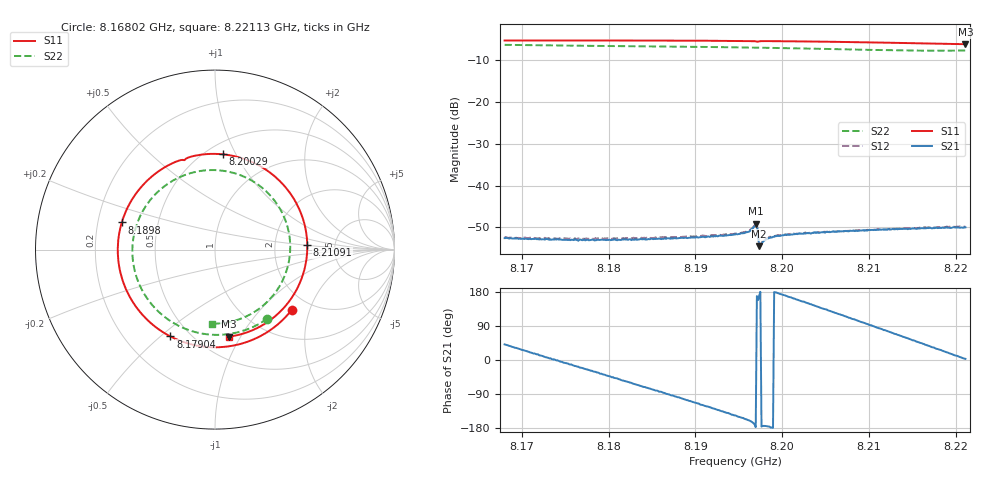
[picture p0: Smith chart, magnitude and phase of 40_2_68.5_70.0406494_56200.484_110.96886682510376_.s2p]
#  HZ  S  RI  R  50.00
! Rohde & Schwarz Vector Network Analyzer
! Rohde-Schwarz,ZNB20-2Port,1311601062101988,3.16
! Created: UTC 3/20/2024, 5:05:33 PM
! freq[Hz]  re:S11  im:S11  re:S21  im:S21  re:S12  im:S12  re:S22  im:S22
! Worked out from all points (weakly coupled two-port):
!   401 points, 8.16802 GHz to 8.22113 GHz, reference 50 ohm
!   highest |S21| = -49.12 dB at 8.19697 GHz (marker M1); lowest = -54.5 dB at 8.19737 GHz (marker M2)
!   lowest |S11| = -6.2 dB at 8.22113 GHz (marker M3), VSWR 2.93, Z = 34.8 - j44.5 ohm
!   |S11| at or under -10 dB: nowhere
!   |S22| runs from -7.7 to -6.3 dB; largest |S21 - S12| = 0.00018
!   S11 on the Smith chart (normalised r, x): 8.16802 GHz: 1.61, -1.53; 8.17904 GHz: 0.39, -0.54; 8.1898 GHz: 0.30, +0.13; 8.20029 GHz: 0.60, +0.89; 8.21091 GHz: 3.10, +0.22; 8.22113 GHz: 0.70, -0.89
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8.168019e9  0.4285 -0.3346  0.00178 0.00155  0.00181 0.0016  0.2913 -0.3848
8.172667e9  0.1755 -0.5154  0.00224 0.000313  0.00235 0.000359  0.0414 -0.474
8.176916e9  -0.1113 -0.5327  0.00209 -0.00079  0.00215 -0.00083  -0.194 -0.4288
8.179041e9  -0.2487 -0.4837  0.00181 -0.00134  0.00187 -0.00136  -0.2946 -0.3636
8.182626e9  -0.4359 -0.3241  0.00111 -0.00194  0.00112 -0.00205  -0.4165 -0.2056
8.185813e9  -0.528 -0.1241  0.000268 -0.00232  0.000303 -0.00237  -0.4599 -0.0347
8.189796e9  -0.5192 0.1511  -0.000875 -0.00224  -0.000951 -0.00229  -0.4195 0.181
8.194577e9  -0.3322 0.4233  -0.00217 -0.00144  -0.00227 -0.00142  -0.2455 0.378
8.196037e9  -0.2443 0.4779  -0.00259 -0.00103  -0.00274 -0.000958  -0.172 0.414
8.196834e9  -0.1895 0.4989  -0.00325 -0.000569  -0.00335 -0.000457  -0.1294 0.4279
8.196967e9  -0.1794 0.4999  -0.00349 -0.00016  -0.00354 -2.24e-05  -0.1219 0.4298
8.197365e9  -0.1626 0.5058  -0.00186 0.000339  -0.00188 0.000447  -0.1004 0.4347
8.197631e9  -0.1441 0.5146  -0.002 -0.000154  -0.00206 -7.22e-05  -0.0854 0.4375
8.198693e9  -0.0688 0.53  -0.0024 -7.43e-05  -0.00244 1.06e-05  -0.0255 0.443
8.200287e9  0.0441 0.5308  -0.00255 0.000425  -0.00254 0.000524  0.0648 0.4361
8.203474e9  0.2568 0.462  -0.00225 0.00153  -0.0022 0.00163  0.2326 0.3669
8.207324e9  0.4469 0.2697  -0.00123 0.00259  -0.00116 0.00263  0.3777 0.1973
8.21091e9  0.5141 0.0257  0.000211 0.00297  0.000284 0.00295  0.4185 -0.0125
8.21237e9  0.5054 -0.0787  0.000816 0.00288  0.000884 0.00292  0.4037 -0.1008
8.214628e9  0.4505 -0.2307  0.00173 0.00254  0.0018 0.00253  0.3444 -0.2278
8.217151e9  0.3358 -0.3709  0.00255 0.00179  0.00261 0.00173  0.2305 -0.3404
8.221134e9  0.0753 -0.4855  0.00317 0.000169  0.00325 3.32e-05  -0.0169 -0.4127
